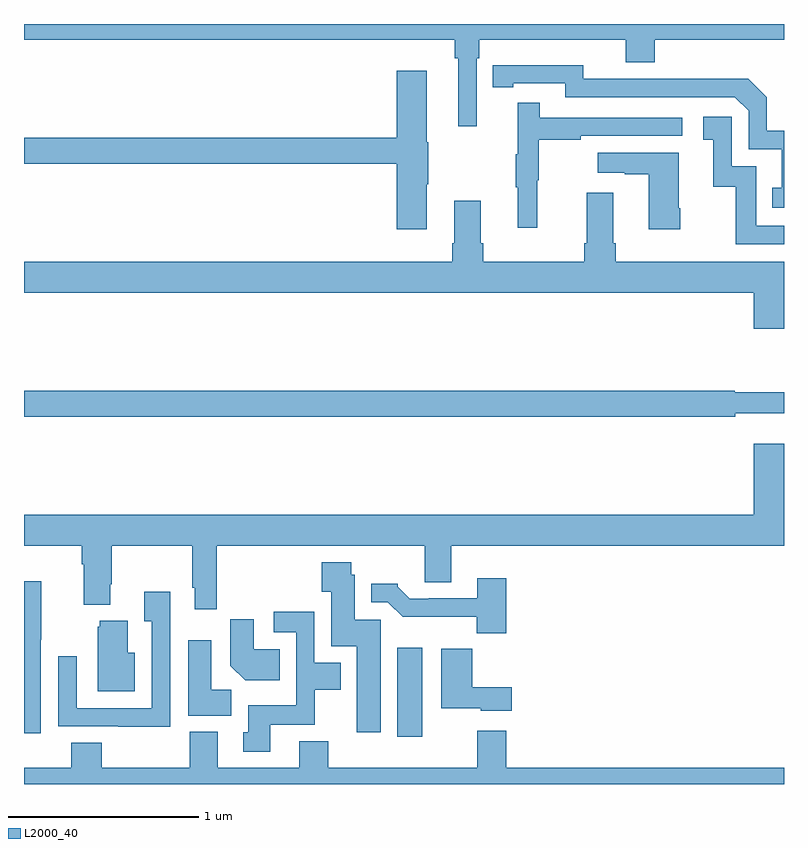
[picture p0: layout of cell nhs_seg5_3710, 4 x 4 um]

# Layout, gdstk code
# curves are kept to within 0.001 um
import gdstk
lib = gdstk.Library(unit=1e-6, precision=1e-09)
def R(c, l, rs):  # rectangles x0, y0, x1, y1
    for r in rs: c.add(gdstk.rectangle(r[:2], r[2:], *l))
def P(c, l, *ps):  # polygons
    for p in ps: c.add(gdstk.Polygon(p, *l))
L2000_40 = (2000, 40)

nhs_seg5_3710 = lib.new_cell('nhs_seg5_3710')
R(nhs_seg5_3710, L2000_40, [(330.965,897.048,331.096,897.517)])
P(nhs_seg5_3710, L2000_40, [(331.383,900.62),(331.397,900.62),(331.397,900.716),(332.168,900.716),(332.168,900.599),(332.321,900.599),(332.321,900.716),(333,900.716),(333,900.799),(329,900.799),(329,900.716),(331.267,900.716),(331.267,900.62),(331.286,900.62),(331.286,900.261),(331.383,900.261)],
  [(333,900.237),(332.91,900.237),(332.91,900.414),(332.812,900.512),(332.404,900.512),(332.404,900.51),(331.944,900.51),(331.944,900.583),(331.468,900.582),(331.468,900.466),(331.576,900.466),(331.576,900.486),(331.848,900.486),(331.848,900.414),(332.742,900.414),(332.814,900.342),(332.814,900.141),(332.987,900.141),(332.987,899.937),(332.938,899.937),(332.938,899.832),(333,899.832)],
  [(331.12,899.956),(331.128,899.956),(331.128,900.177),(331.12,900.177),(331.12,900.553),(330.962,900.553),(330.962,900.2),(329,900.2),(329,900.064),(330.962,900.064),(330.962,899.718),(331.12,899.718)],
  [(331.7,899.976),(331.708,899.976),(331.708,900.19),(331.931,900.19),(331.931,900.21),(332.464,900.21),(332.464,900.306),(331.715,900.306),(331.715,900.385),(331.598,900.385),(331.598,900.113),(331.587,900.113),(331.587,899.939),(331.598,899.939),(331.598,899.727),(331.7,899.727)],
  [(333,899.736),(332.853,899.736),(332.853,900.051),(332.724,900.051),(332.724,900.31),(332.574,900.31),(332.574,900.189),(332.627,900.189),(332.627,899.943),(332.745,899.943),(332.745,899.64),(333,899.64)],
  [(332.454,899.83),(332.446,899.83),(332.446,900.121),(332.019,900.121),(332.019,900.017),(332.162,900.017),(332.162,900.007),(332.288,900.007),(332.288,899.718),(332.454,899.718)],
  [(333,899.548),(332.114,899.548),(332.114,899.644),(332.101,899.644),(332.101,899.911),(331.961,899.911),(331.961,899.644),(331.949,899.644),(331.949,899.548),(331.418,899.548),(331.418,899.644),(331.405,899.644),(331.405,899.869),(331.265,899.869),(331.265,899.644),(331.253,899.644),(331.253,899.548),(329,899.548),(329,899.384),(332.84,899.384),(332.84,899.196),(333,899.196)],
  [(332.744,898.751),(333,898.751),(333,898.861),(332.74,898.861),(332.74,898.868),(329,898.868),(329,898.732),(332.744,898.732)],
  [(330.014,898.052),(331.109,898.052),(331.109,897.862),(331.249,897.862),(331.249,898.052),(333,898.052),(333,898.591),(332.84,898.591),(332.84,898.216),(329,898.216),(329,898.052),(329.303,898.052),(329.303,897.956),(329.315,897.956),(329.315,897.743),(329.455,897.743),(329.455,897.85),(329.463,897.85),(329.463,898.052),(329.886,898.052),(329.886,897.832),(329.898,897.832),(329.898,897.72),(330.014,897.72)],
  [(330.877,897.663),(330.742,897.663),(330.742,897.9),(330.723,897.9),(330.723,897.967),(330.566,897.967),(330.566,897.811),(330.617,897.811),(330.617,897.524),(330.752,897.524),(330.752,897.072),(330.877,897.072)],
  [(331.538,897.883),(331.385,897.883),(331.385,897.777),(331.129,897.777),(331.129,897.774),(331.03,897.774),(330.966,897.838),(330.966,897.853),(330.827,897.853),(330.827,897.756),(330.915,897.756),(330.994,897.678),(331.383,897.678),(331.383,897.593),(331.538,897.593)],
  [(329.088,897.559),(329.091,897.559),(329.091,897.866),(329,897.866),(329,897.066),(329.088,897.066)],
  [(329.769,897.811),(329.633,897.811),(329.633,897.655),(329.673,897.655),(329.673,897.198),(329.277,897.198),(329.277,897.472),(329.181,897.472),(329.181,897.102),(329.497,897.102),(329.497,897.101),(329.769,897.101)],
  [(330.295,897.11),(330.531,897.11),(330.531,897.296),(330.667,897.296),(330.667,897.436),(330.528,897.436),(330.528,897.706),(330.315,897.706),(330.315,897.597),(330.432,897.597),(330.432,897.214),(330.179,897.214),(330.179,897.072),(330.155,897.072),(330.155,896.97),(330.295,896.97)],
  [(330.347,897.508),(330.208,897.508),(330.208,897.667),(330.086,897.667),(330.086,897.422),(330.164,897.344),(330.347,897.344)],
  [(329.584,897.49),(329.545,897.49),(329.545,897.658),(329.399,897.658),(329.399,897.627),(329.387,897.627),(329.387,897.287),(329.584,897.287)],
  [(330.091,897.296),(329.986,897.296),(329.986,897.556),(329.864,897.556),(329.864,897.158),(330.091,897.158)],
  [(331.567,897.307),(331.358,897.307),(331.358,897.511),(331.196,897.511),(331.196,897.197),(331.404,897.197),(331.404,897.185),(331.567,897.185)],
  [(331.538,897.079),(331.385,897.079),(331.385,896.884),(330.602,896.884),(330.602,897.025),(330.449,897.025),(330.449,896.884),(330.019,896.884),(330.019,897.073),(329.872,897.073),(329.872,896.884),(329.409,896.884),(329.409,897.017),(329.249,897.017),(329.249,896.884),(329,896.884),(329,896.799),(333,896.799),(333,896.884),(331.538,896.884)])

lib.write_gds('nhs_seg5_3710.gds')
